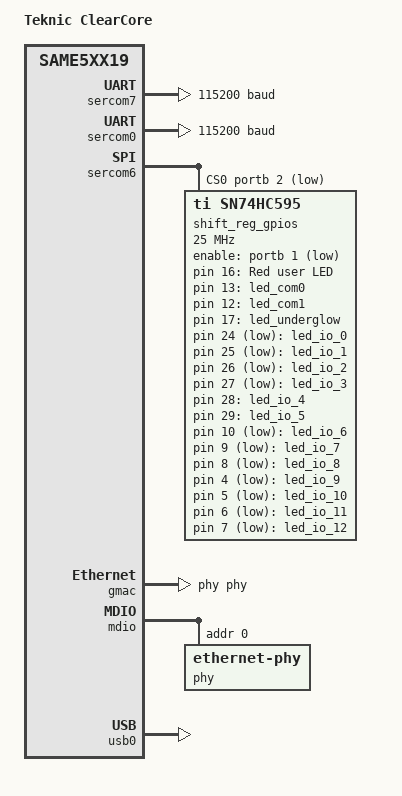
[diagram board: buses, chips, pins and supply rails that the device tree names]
/*
 # Copyright (c) 2025 Pete Dietl <petedietl@gmail.com>
 *
 * SPDX-License-Identifier: Apache-2.0
 */

/dts-v1/;
#include <freq.h>
#include <atmel/same5xx19.dtsi>
#include "clear_core-pinctrl.dtsi"
#include <zephyr/dt-bindings/input/input-event-codes.h>

/ {
	model = "Teknic ClearCore";
	compatible = "teknic,clear_core";

	chosen {
		/* You can use COM0, COM1, or the USB device as the console
		*  Have a look at the USB console sample in ./samples/subsys/usb/console.
		*  Building that project will automatically override zephyr,console as defined
		*  here.
		*/
		zephyr,sram = &sram0;
		zephyr,flash = &flash0;
		zephyr,code-partition = &slot0_partition;
	};

	aliases {
		/* These aliases are provided for compatibility with samples */
		led0 = &led_user; /* The red User LED */
	};

	leds {
		compatible = "gpio-leds";
		led_user: led_user {
			/* If you consider the outputs of all the linked shift registers
			 * as starting collectively at index 0 and continuing to index 31,
		         * then output Q0 of the third shift register is index 16.
			 * Hence, the User LED is on GPIO pin 16.
			 */
			gpios = <&shift_reg_gpios 16 GPIO_ACTIVE_HIGH>;
			label = "Red user LED";
		};
		led_com0: led_com0 {
			gpios = <&shift_reg_gpios 13 GPIO_ACTIVE_HIGH>;
		};
		led_com1: led_com1 {
			gpios = <&shift_reg_gpios 12 GPIO_ACTIVE_HIGH>;
		};
		led_underglow: led_underglow {
			gpios = <&shift_reg_gpios 17 GPIO_ACTIVE_HIGH>;
		};

		led_io_0: led_io_0 {
			gpios = <&shift_reg_gpios 24 GPIO_ACTIVE_LOW>;
		};
		led_io_1: led_io_1 {
			gpios = <&shift_reg_gpios 25 GPIO_ACTIVE_LOW>;
		};
		led_io_2: led_io_2 {
			gpios = <&shift_reg_gpios 26 GPIO_ACTIVE_LOW>;
		};
		led_io_3: led_io_3 {
			gpios = <&shift_reg_gpios 27 GPIO_ACTIVE_LOW>;
		};
		led_io_4: led_io_4 {
			gpios = <&shift_reg_gpios 28 GPIO_ACTIVE_HIGH>;
		};
		led_io_5: led_io_5 {
			gpios = <&shift_reg_gpios 29 GPIO_ACTIVE_HIGH>;
		};
		led_io_6: led_io_6 {
			gpios = <&shift_reg_gpios 10 GPIO_ACTIVE_LOW>;
		};
		led_io_7: led_io_7 {
			gpios = <&shift_reg_gpios 9 GPIO_ACTIVE_LOW>;
		};
		led_io_8: led_io_8 {
			gpios = <&shift_reg_gpios 8 GPIO_ACTIVE_LOW>;
		};
		led_io_9: led_io_9 {
			gpios = <&shift_reg_gpios 4 GPIO_ACTIVE_LOW>;
		};
		led_io_10: led_io_10 {
			gpios = <&shift_reg_gpios 5 GPIO_ACTIVE_LOW>;
		};
		led_io_11: led_io_11 {
			gpios = <&shift_reg_gpios 6 GPIO_ACTIVE_LOW>;
		};
		led_io_12: led_io_12 {
			gpios = <&shift_reg_gpios 7 GPIO_ACTIVE_LOW>;
		};
	};
};

&cpu0 {
	clock-frequency = <DT_FREQ_M(120)>;
};

&sercom7 {
	status = "okay";
	compatible = "atmel,sam0-uart";
	current-speed = <115200>;
	rxpo = <1>;
	txpo = <0>;

	#address-cells = <1>;
	#size-cells = <0>;

	pinctrl-0 = <&sercom7_uart_or_spi_default>;
	pinctrl-names = "default";
};

&sercom0 {
	status = "okay";
	compatible = "atmel,sam0-uart";
	current-speed = <115200>;
	rxpo = <1>;
	txpo = <0>;

	#address-cells = <1>;
	#size-cells = <0>;

	pinctrl-0 = <&sercom0_uart_or_spi_default>;
	pinctrl-names = "default";
};

/* Configuration for sercom6 as a SPI controller used to control
 * four linked 8-bit shift registers.
 */
&sercom6 {
	status = "okay";
	compatible = "atmel,sam0-spi";
	dopo = <2>;
	dipo = <2>;
	#address-cells = <1>;
	#size-cells = <0>;

	pinctrl-0 = <&sercom6_spi_default>;
	pinctrl-names = "default";

	cs-gpios = <&portb 2 GPIO_ACTIVE_LOW>;

	shift_reg_gpios: shift_reg_gpios@0 {
		status = "okay";
		compatible = "ti,sn74hc595";
		reset-value = <0x0f0007f0>;
		enable-gpios = <&portb 1 GPIO_ACTIVE_LOW>;
		ngpios = <32>;
		reg = <0>;
		gpio-controller;
		#gpio-cells = <2>;
		spi-max-frequency = <DT_FREQ_M(25)>;
	};
};

/* Ethernet config */
&gmac {
	status = "okay";

	pinctrl-0 = <&gmac_rmii>;
	pinctrl-names = "default";

	phy-handle = <&phy>;
};

/* Ethernet config */
&mdio {
	status = "okay";

	pinctrl-0 = <&mdio_default>;
	pinctrl-names = "default";

	phy: ethernet-phy@0 {
		compatible = "ethernet-phy";
		status = "okay";
		reg = <0>;
	};
};

/* The USB type-B port */
zephyr_udc0: &usb0 {
	status = "okay";

	pinctrl-0 = <&usb_dc_default>;
	pinctrl-names = "default";
};

&flash0 {
	partitions {
		compatible = "fixed-partitions";
		#address-cells = <1>;
		#size-cells = <1>;

		/* This bootloader is provided by Microchip by default.
		 * By default this section of flash is marked as "bootloader"
		 * in the flash controller and cannot be written.
		 */
		boot_partition: partition@0 {
			label = "mcuboot";
			reg = <0x0 0x00004000>;
			read-only;
		};

		slot0_partition: partition@4000 {
			label = "app-image";
			reg = <0x00004000 0x0080000>;
		};

	};
};

#include <../boards/common/usb/cdc_acm_serial.dtsi>
